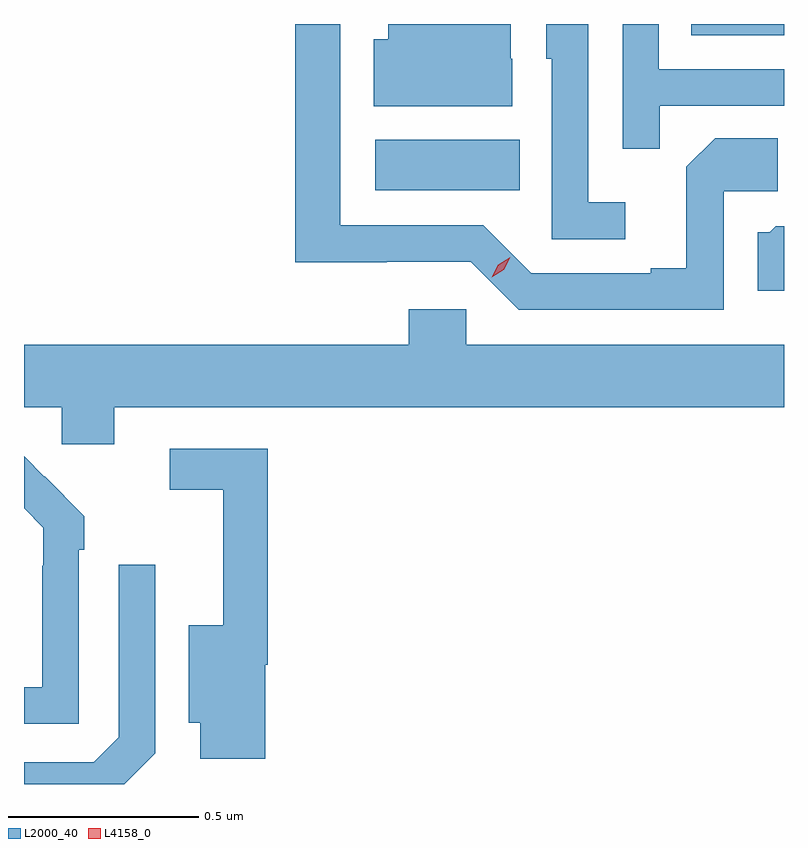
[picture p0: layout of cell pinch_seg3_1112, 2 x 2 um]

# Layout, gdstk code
import gdstk
lib = gdstk.Library(unit=1e-6, precision=1e-09)
def R(c, l, rs):  # rectangles x0, y0, x1, y1
    for r in rs: c.add(gdstk.rectangle(r[:2], r[2:], *l))
def P(c, l, *ps):  # polygons
    for p in ps: c.add(gdstk.Polygon(p, *l))
L2000_40 = (2000, 40)
L4158_0 = (4158, 0)

pinch_seg3_1112 = lib.new_cell('pinch_seg3_1112')
R(pinch_seg3_1112, L2000_40, [(328.296,676.178,328.676,676.312), (329.128,676.587,329.372,676.616)])
P(pinch_seg3_1112, L2000_40, [(328.657,676.524),(328.653,676.524),(328.653,676.616),(328.331,676.616),(328.331,676.576),(328.292,676.576),(328.292,676.4),(328.657,676.4)],
  [(329.045,676.401),(329.372,676.401),(329.372,676.497),(329.043,676.497),(329.043,676.616),(328.947,676.616),(328.947,676.288),(329.045,676.288)],
  [(329.214,676.176),(329.356,676.176),(329.356,676.316),(329.191,676.316),(329.115,676.24),(329.115,675.973),(329.021,675.973),(329.021,675.96),(328.707,675.96),(328.581,676.086),(328.204,676.086),(328.204,676.616),(328.086,676.616),(328.086,675.989),(328.326,675.989),(328.326,675.99),(328.548,675.99),(328.674,675.864),(329.214,675.864)],
  [(328.954,676.147),(328.857,676.147),(328.857,676.616),(328.746,676.616),(328.746,676.524),(328.761,676.524),(328.761,676.05),(328.954,676.05)],
  [(329.372,676.084),(329.35,676.084),(329.334,676.068),(329.303,676.068),(329.303,675.914),(329.372,675.914)],
  [(327.61,675.608),(329.372,675.608),(329.372,675.772),(328.536,675.772),(328.536,675.865),(328.385,675.865),(328.385,675.772),(327.372,675.772),(327.372,675.608),(327.471,675.608),(327.471,675.51),(327.61,675.51)],
  [(328.007,674.93),(328.013,674.93),(328.013,675.498),(327.756,675.498),(327.756,675.39),(327.896,675.39),(327.896,675.034),(327.806,675.034),(327.806,674.777),(327.836,674.777),(327.836,674.682),(328.007,674.682)],
  [(327.516,675.233),(327.531,675.233),(327.531,675.321),(327.426,675.426),(327.425,675.425),(327.372,675.478),(327.372,675.342),(327.423,675.291),(327.423,675.191),(327.42,675.191),(327.42,674.871),(327.372,674.871),(327.372,674.775),(327.516,674.775)],
  [(327.717,674.697),(327.717,675.193),(327.621,675.193),(327.621,674.739),(327.555,674.673),(327.372,674.673),(327.372,674.616),(327.636,674.616)])
P(pinch_seg3_1112, L4158_0, [(328.603,675.949),(328.603,675.95),(328.62,675.982),(328.651,676.002),(328.652,676.002),(328.652,676.002),(328.635,675.969),(328.603,675.949)])

lib.write_gds('pinch_seg3_1112.gds')
